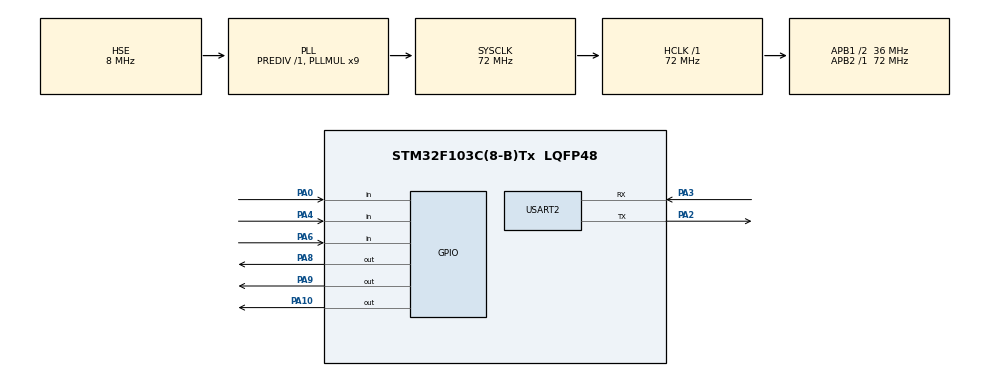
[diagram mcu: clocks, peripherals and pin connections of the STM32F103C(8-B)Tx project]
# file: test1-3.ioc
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Dma.Request0=USART2_RX
Dma.Request1=USART2_TX
Dma.USART2_RX.0.Direction=DMA_PERIPH_TO_MEMORY
Dma.USART2_RX.0.Instance=DMA1_Channel6
Dma.USART2_RX.0.MemDataAlignment=DMA_MDATAALIGN_BYTE
Dma.USART2_RX.0.MemInc=DMA_MINC_ENABLE
Dma.USART2_RX.0.Mode=DMA_NORMAL
Dma.USART2_RX.0.PeriphDataAlignment=DMA_PDATAALIGN_BYTE
Dma.USART2_RX.0.PeriphInc=DMA_PINC_DISABLE
Dma.USART2_RX.0.Priority=DMA_PRIORITY_LOW
Dma.USART2_TX.1.Direction=DMA_MEMORY_TO_PERIPH
Dma.USART2_TX.1.Instance=DMA1_Channel7
Dma.USART2_TX.1.MemDataAlignment=DMA_MDATAALIGN_BYTE
Dma.USART2_TX.1.MemInc=DMA_MINC_ENABLE
Dma.USART2_TX.1.Mode=DMA_NORMAL
Dma.USART2_TX.1.PeriphDataAlignment=DMA_PDATAALIGN_BYTE
Dma.USART2_TX.1.PeriphInc=DMA_PINC_DISABLE
Dma.USART2_TX.1.Priority=DMA_PRIORITY_LOW
FREERTOS.Tasks01=defaultTask,24,128,StartDefaultTask,Default,NULL,Dynamic,NULL,NULL
Mcu.Family=STM32F1
Mcu.Name=STM32F103C(8-B)Tx
Mcu.Package=LQFP48
NVIC.DMA1_Channel6_IRQn=true\:5\:0\:false\:false\:true\:true\:false\:true\:true
NVIC.DMA1_Channel7_IRQn=true\:5\:0\:false\:false\:true\:true\:false\:true\:true
NVIC.PriorityGroup=NVIC_PRIORITYGROUP_4
NVIC.TIM4_IRQn=true\:15\:0\:false\:false\:true\:false\:false\:true\:true
NVIC.TimeBase=TIM4_IRQn
NVIC.TimeBaseIP=TIM4
NVIC.USART2_IRQn=true\:5\:0\:false\:false\:true\:true\:false\:true\:true
PA0-WKUP.GPIO_PuPd=GPIO_PULLUP
PA0-WKUP.Signal=GPIO_Input
PA10.GPIO_ModeDefaultOutputPP=GPIO_MODE_OUTPUT_PP
PA10.GPIO_PuPd=GPIO_PULLDOWN
PA10.PinState=GPIO_PIN_RESET
PA10.Signal=GPIO_Output
PA13.Mode=Serial_Wire
PA13.Signal=SYS_JTMS-SWDIO
PA14.Mode=Serial_Wire
PA14.Signal=SYS_JTCK-SWCLK
PA2.Mode=Asynchronous
PA2.Signal=USART2_TX
PA3.Mode=Asynchronous
PA3.Signal=USART2_RX
PA4.GPIO_PuPd=GPIO_PULLUP
PA4.Signal=GPIO_Input
PA6.GPIO_PuPd=GPIO_PULLUP
PA6.Signal=GPIO_Input
PA8.GPIO_PuPd=GPIO_PULLDOWN
PA8.Signal=GPIO_Output
PA9.GPIO_ModeDefaultOutputPP=GPIO_MODE_OUTPUT_PP
PA9.GPIO_PuPd=GPIO_PULLDOWN
PA9.PinState=GPIO_PIN_RESET
PA9.Signal=GPIO_Output
PD0-OSC_IN.Mode=HSE-External-Oscillator
PD0-OSC_IN.Signal=RCC_OSC_IN
PD1-OSC_OUT.Mode=HSE-External-Oscillator
PD1-OSC_OUT.Signal=RCC_OSC_OUT
ProjectManager.HeapSize=0x200
ProjectManager.StackSize=0x400
ProjectManager.TargetToolchain=MDK-ARM V5.32
RCC.AHBFreq_Value=72000000
RCC.APB1CLKDivider=RCC_HCLK_DIV2
RCC.APB1Freq_Value=36000000
RCC.APB1TimFreq_Value=72000000
RCC.APB2Freq_Value=72000000
RCC.APB2TimFreq_Value=72000000
RCC.HCLKFreq_Value=72000000
RCC.PLLMUL=RCC_PLL_MUL9
RCC.PLLSourceVirtual=RCC_PLLSOURCE_HSE
RCC.SYSCLKFreq_VALUE=72000000
RCC.SYSCLKSource=RCC_SYSCLKSOURCE_PLLCLK
RCC.USBFreq_Value=72000000
TIM1.Period=1000-1
TIM1.Prescaler=72-1
USART2.VirtualMode=VM_ASYNC
VP_FREERTOS_VS_CMSIS_V2.Mode=CMSIS_V2
VP_SYS_VS_tim4.Mode=TIM4
VP_TIM1_VS_ClockSourceINT.Mode=Internal
board=custom

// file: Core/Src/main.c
/* USER CODE BEGIN Header */
/**
  ******************************************************************************
  * @file           : main.c
  * @brief          : Main program body
  ******************************************************************************
  * @attention
  *
  * Copyright (c) 2025 STMicroelectronics.
  * All rights reserved.
  *
  * This software is licensed under terms that can be found in the LICENSE file
  * in the root directory of this software component.
  * If no LICENSE file comes with this software, it is provided AS-IS.
  *
  ******************************************************************************
  */
/* USER CODE END Header */
#include "main.h"
#include "cmsis_os.h"
#include "dma.h"
#include "tim.h"
#include "usart.h"
#include "gpio.h"

void SystemClock_Config(void);
void MX_FREERTOS_Init(void);

int main(void)
{

  /* MCU Configuration--------------------------------------------------------*/

  /* Reset of all peripherals, Initializes the Flash interface and the Systick. */
  HAL_Init();

  /* Configure the system clock */
  SystemClock_Config();

  /* Initialize all configured peripherals */
  MX_GPIO_Init();
  MX_DMA_Init();
  MX_USART2_UART_Init();
  MX_TIM1_Init();
  /* USER CODE BEGIN 2 */
	HAL_TIM_PWM_Start(&htim1, TIM_CHANNEL_1);
  /* USER CODE END 2 */

  /* Init scheduler */
  osKernelInitialize();  /* Call init function for freertos objects (in cmsis_os2.c) */
  MX_FREERTOS_Init();

  /* Start scheduler */
  osKernelStart();

  /* We should never get here as control is now taken by the scheduler */

  /* Infinite loop */
  while (1)
  {

  }
}

void SystemClock_Config(void)
{
  RCC_OscInitTypeDef RCC_OscInitStruct = {0};
  RCC_ClkInitTypeDef RCC_ClkInitStruct = {0};

  /** Initializes the RCC Oscillators according to the specified parameters
  * in the RCC_OscInitTypeDef structure.
  */
  RCC_OscInitStruct.OscillatorType = RCC_OSCILLATORTYPE_HSE;
  RCC_OscInitStruct.HSEState = RCC_HSE_ON;
  RCC_OscInitStruct.HSEPredivValue = RCC_HSE_PREDIV_DIV1;
  RCC_OscInitStruct.HSIState = RCC_HSI_ON;
  RCC_OscInitStruct.PLL.PLLState = RCC_PLL_ON;
  RCC_OscInitStruct.PLL.PLLSource = RCC_PLLSOURCE_HSE;
  RCC_OscInitStruct.PLL.PLLMUL = RCC_PLL_MUL9;
  if (HAL_RCC_OscConfig(&RCC_OscInitStruct) != HAL_OK)
  {
    Error_Handler();
  }

  /** Initializes the CPU, AHB and APB buses clocks
  */
  RCC_ClkInitStruct.ClockType = RCC_CLOCKTYPE_HCLK|RCC_CLOCKTYPE_SYSCLK
                              |RCC_CLOCKTYPE_PCLK1|RCC_CLOCKTYPE_PCLK2;
  RCC_ClkInitStruct.SYSCLKSource = RCC_SYSCLKSOURCE_PLLCLK;
  RCC_ClkInitStruct.AHBCLKDivider = RCC_SYSCLK_DIV1;
  RCC_ClkInitStruct.APB1CLKDivider = RCC_HCLK_DIV2;
  RCC_ClkInitStruct.APB2CLKDivider = RCC_HCLK_DIV1;

  if (HAL_RCC_ClockConfig(&RCC_ClkInitStruct, FLASH_LATENCY_2) != HAL_OK)
  {
    Error_Handler();
  }
}

void HAL_TIM_PeriodElapsedCallback(TIM_HandleTypeDef *htim)
{
  if (htim->Instance == TIM4)
  {
    HAL_IncTick();
  }
}

void Error_Handler(void)
{
  __disable_irq();
  while (1)
  {
  }
}

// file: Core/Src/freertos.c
/* USER CODE BEGIN Header */
/**
  ******************************************************************************
  * File Name          : freertos.c
  * Description        : Code for freertos applications
  ******************************************************************************
  * @attention
  *
  * Copyright (c) 2025 STMicroelectronics.
  * All rights reserved.
  *
  * This software is licensed under terms that can be found in the LICENSE file
  * in the root directory of this software component.
  * If no LICENSE file comes with this software, it is provided AS-IS.
  *
  ******************************************************************************
  */
/* USER CODE END Header */

#include "FreeRTOS.h"
#include "task.h"
#include "main.h"
#include "cmsis_os.h"

/* USER CODE BEGIN Includes */
#include "usart.h"
#include "tim.h"
/* USER CODE END Includes */

/* USER CODE BEGIN Variables */
int fla = 0;
int k = 0;
LEDState tempState;
LEDState tempState2;
LEDState ledState = NONE;
int flash = 0;
int pwmVal = 0;
int pwmIncrease = 1;
char CTRLData[] = "CTRL_ACTIVE";
char K1Data[] = "K1_PRESSED";
char PWMData[] = "PWM";
char K2Data[] = "K2_PRESSED";
char K3Data[] = "K3_PRESSED";
/* USER CODE END Variables */
/* Definitions for defaultTask */
osThreadId_t defaultTaskHandle;
const osThreadAttr_t defaultTask_attributes = {
  .name = "defaultTask",
  .stack_size = 128 * 4,
  .priority = (osPriority_t) osPriorityNormal,
};

/* USER CODE BEGIN FunctionPrototypes */
void buttonTask(void *parames);
void stateTask(void *parames);
/* USER CODE END FunctionPrototypes */

void StartDefaultTask(void *argument);

void MX_FREERTOS_Init(void); /* (MISRA C 2004 rule 8.1) */

void MX_FREERTOS_Init(void) {

  /* Create the thread(s) */
  /* creation of defaultTask */
  defaultTaskHandle = osThreadNew(StartDefaultTask, NULL, &defaultTask_attributes);

  /* USER CODE BEGIN RTOS_THREADS */
  /* add threads, ... */
	xTaskCreate(buttonTask,"buttonTask",128,NULL,osPriorityNormal+1,NULL);
	xTaskCreate(stateTask,"stateTask",128,NULL,osPriorityNormal,NULL);
  /* USER CODE END RTOS_THREADS */

}

void StartDefaultTask(void *argument)
{
  for(;;)
  {
    osDelay(1);
  }
}

/* USER CODE BEGIN Application */
void buttonTask(void *parames){
	uint32_t lastTime = 0;
	uint32_t curTime = 0;
	for(;;){
		if(HAL_GPIO_ReadPin(GPIOA,GPIO_PIN_0) == GPIO_PIN_RESET){
			lastTime = HAL_GetTick();
			vTaskDelay(20);
			if(HAL_GPIO_ReadPin(GPIOA,GPIO_PIN_0) == GPIO_PIN_RESET){
				while(HAL_GPIO_ReadPin(GPIOA,GPIO_PIN_0) == GPIO_PIN_RESET);
				curTime = HAL_GetTick();
				if(curTime - lastTime >= 2000){
					ledState = PWM;
				}else{
					ledState = FLA;
					fla = !fla;
				}
			}
		}else if(HAL_GPIO_ReadPin(GPIOA,GPIO_PIN_4) == GPIO_PIN_RESET){
			vTaskDelay(20);
			if(HAL_GPIO_ReadPin(GPIOA,GPIO_PIN_4) == GPIO_PIN_RESET){
				while(HAL_GPIO_ReadPin(GPIOA,GPIO_PIN_4) == GPIO_PIN_RESET);
				ledState = FLAPWM;
			}
		}else if(HAL_GPIO_ReadPin(GPIOA,GPIO_PIN_6) == GPIO_PIN_RESET){
			vTaskDelay(20);
			if(HAL_GPIO_ReadPin(GPIOA,GPIO_PIN_6) == GPIO_PIN_RESET){
				tempState = ledState;
				while(HAL_GPIO_ReadPin(GPIOA,GPIO_PIN_6) == GPIO_PIN_RESET){
					if(fla != 0){
						fla = 0;
						__HAL_TIM_SET_COMPARE(&htim1,TIM_CHANNEL_1,0);
						k = 1;
					}
					ledState = STOP;
					vTaskDelay(50);
				}
				HAL_GPIO_WritePin(GPIOA,GPIO_PIN_10,GPIO_PIN_RESET);
				if(k == 1){
					fla = 1;
					__HAL_TIM_SET_COMPARE(&htim1,TIM_CHANNEL_1,1000);
				}
				ledState = tempState;
			}
		}
		vTaskDelay(50);
	}
}
void stateTask(void *parames){
	for(;;){
		switch(ledState){
			case FLA:
				if(fla != 0){
						__HAL_TIM_SET_COMPARE(&htim1,TIM_CHANNEL_1,1000);
					}else{
						__HAL_TIM_SET_COMPARE(&htim1,TIM_CHANNEL_1,0);
					}
					break;
			case NONE:
				break;
			case PWM:
				if(pwmIncrease){
					pwmVal += 50;
					if(pwmVal >= 1000){
						pwmVal = 990;
						pwmIncrease = 0;
					}
				}else{
					pwmVal -= 50;
					if(pwmVal <= 0){
						pwmVal = 10;
						pwmIncrease = 1;
					}
				}
				__HAL_TIM_SET_COMPARE(&htim1,TIM_CHANNEL_1,pwmVal);
				break;
			case FLAPWM:
				HAL_GPIO_TogglePin(GPIOA,GPIO_PIN_9);
				__HAL_TIM_SET_COMPARE(&htim1,TIM_CHANNEL_1,1000);
				vTaskDelay(250);
				HAL_GPIO_TogglePin(GPIOA,GPIO_PIN_9);
				__HAL_TIM_SET_COMPARE(&htim1,TIM_CHANNEL_1,0);
				vTaskDelay(250);
				HAL_GPIO_TogglePin(GPIOA,GPIO_PIN_9);
				__HAL_TIM_SET_COMPARE(&htim1,TIM_CHANNEL_1,1000);
				vTaskDelay(250);
				HAL_GPIO_TogglePin(GPIOA,GPIO_PIN_9);
				__HAL_TIM_SET_COMPARE(&htim1,TIM_CHANNEL_1,0);
				vTaskDelay(250);

				__HAL_TIM_SET_COMPARE(&htim1,TIM_CHANNEL_1,1000);
				vTaskDelay(250);
				__HAL_TIM_SET_COMPARE(&htim1,TIM_CHANNEL_1,0);
				vTaskDelay(250);
				__HAL_TIM_SET_COMPARE(&htim1,TIM_CHANNEL_1,1000);
				vTaskDelay(250);
				__HAL_TIM_SET_COMPARE(&htim1,TIM_CHANNEL_1,0);
				vTaskDelay(250);

				__HAL_TIM_SET_COMPARE(&htim1,TIM_CHANNEL_1,1000);
				vTaskDelay(250);
				__HAL_TIM_SET_COMPARE(&htim1,TIM_CHANNEL_1,0);
				vTaskDelay(250);
				__HAL_TIM_SET_COMPARE(&htim1,TIM_CHANNEL_1,1000);
				vTaskDelay(250);
				__HAL_TIM_SET_COMPARE(&htim1,TIM_CHANNEL_1,0);
				vTaskDelay(250);

				break;
			case STOP:
				HAL_GPIO_WritePin(GPIOA,GPIO_PIN_10,GPIO_PIN_SET);
				break;
		}
		vTaskDelay(50);
	}
}
/* USER CODE END Application */
